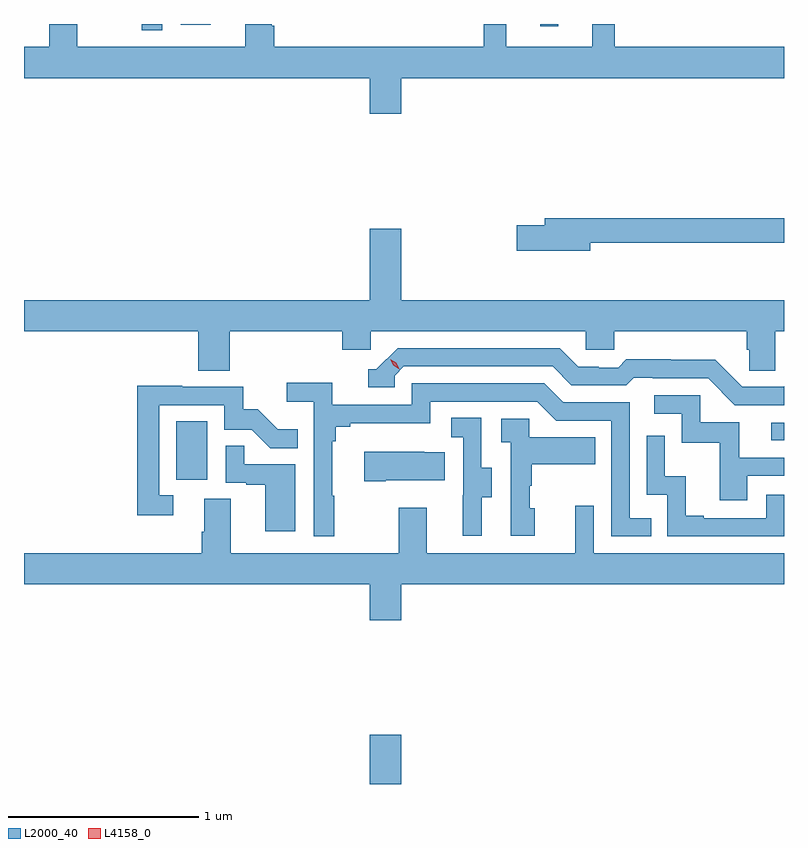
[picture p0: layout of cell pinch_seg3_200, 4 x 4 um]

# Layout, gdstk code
import gdstk
lib = gdstk.Library(unit=1e-6, precision=1e-09)
def R(c, l, rs):  # rectangles x0, y0, x1, y1
    for r in rs: c.add(gdstk.rectangle(r[:2], r[2:], *l))
def P(c, l, *ps):  # polygons
    for p in ps: c.add(gdstk.Polygon(p, *l))
L2000_40 = (2000, 40)
L4158_0 = (4158, 0)

pinch_seg3_200 = lib.new_cell('pinch_seg3_200')
R(pinch_seg3_200, L2000_40, [(956.216,727.837,956.38,728.095), (955.196,729.438,955.36,729.745), (958.329,729.645,958.395,729.738), (955.014,731.805,955.122,731.837), (957.111,731.826,957.208,731.837), (955.22,731.832,955.378,731.837)])
P(pinch_seg3_200, L2000_40, [(954.527,731.837),(954.527,731.716),(954.395,731.716),(954.395,731.552),(956.216,731.552),(956.216,731.364),(956.38,731.364),(956.38,731.552),(958.395,731.552),(958.395,731.716),(957.503,731.716),(957.503,731.837),(957.386,731.837),(957.386,731.716),(956.933,731.716),(956.933,731.837),(956.815,731.837),(956.815,731.716),(955.712,731.716),(955.712,731.828),(955.699,731.828),(955.699,731.837),(955.559,731.837),(955.559,731.716),(954.675,731.716),(954.675,731.837)],
  [(957.376,730.686),(958.395,730.686),(958.395,730.814),(957.137,730.814),(957.137,730.778),(956.988,730.778),(956.988,730.643),(957.376,730.643)],
  [(956.216,730.384),(954.395,730.384),(954.395,730.22),(955.313,730.22),(955.313,730.012),(955.478,730.012),(955.478,730.22),(956.069,730.22),(956.069,730.122),(956.22,730.122),(956.22,730.22),(957.351,730.22),(957.351,730.122),(957.501,730.122),(957.501,730.22),(958.199,730.22),(958.199,730.122),(958.213,730.122),(958.213,730.012),(958.35,730.012),(958.35,730.22),(958.395,730.22),(958.395,730.384),(956.38,730.384),(956.38,730.759),(956.216,730.759)],
  [(958.395,729.93),(958.392,729.927),(958.176,729.927),(958.034,730.069),(957.798,730.069),(957.798,730.072),(957.565,730.072),(957.523,730.029),(957.42,730.029),(957.42,730.032),(957.313,730.032),(957.214,730.131),(956.361,730.131),(956.25,730.02),(956.207,730.02),(956.207,729.924),(956.346,729.924),(956.346,729.987),(956.394,730.035),(957.177,730.035),(957.276,729.936),(957.565,729.936),(957.604,729.975),(957.703,729.975),(957.703,729.972),(957.996,729.972),(958.137,729.831),(958.395,729.831)],
  [(956.029,729.353),(956.017,729.353),(956.017,729.641),(956.036,729.641),(956.036,729.718),(956.113,729.718),(956.113,729.737),(956.532,729.737),(956.532,729.849),(957.096,729.849),(957.195,729.75),(957.486,729.75),(957.486,729.141),(957.695,729.141),(957.695,729.237),(957.582,729.237),(957.582,729.846),(957.232,729.846),(957.133,729.945),(956.436,729.945),(956.436,729.834),(956.018,729.834),(956.018,729.95),(955.779,729.95),(955.779,729.848),(955.92,729.848),(955.92,729.141),(956.029,729.141)],
  [(955.18,729.357),(955.107,729.357),(955.107,729.831),(955.449,729.831),(955.449,729.702),(955.593,729.702),(955.691,729.604),(955.835,729.604),(955.835,729.703),(955.731,729.703),(955.624,729.81),(955.548,729.81),(955.548,729.927),(955.229,729.927),(955.229,729.932),(954.991,729.932),(954.991,729.252),(955.18,729.252)],
  [(958.201,729.459),(958.395,729.459),(958.395,729.555),(958.159,729.555),(958.159,729.741),(957.954,729.741),(957.954,729.882),(957.711,729.882),(957.711,729.786),(957.858,729.786),(957.858,729.633),(958.057,729.633),(958.057,729.33),(958.201,729.33)],
  [(956.803,729.346),(956.857,729.346),(956.857,729.501),(956.802,729.501),(956.802,729.764),(956.643,729.764),(956.643,729.661),(956.706,729.661),(956.706,729.357),(956.705,729.357),(956.705,729.144),(956.803,729.144)],
  [(957.082,729.288),(957.057,729.288),(957.057,729.407),(957.067,729.407),(957.067,729.521),(957.401,729.521),(957.401,729.661),(957.054,729.661),(957.054,729.759),(956.907,729.759),(956.907,729.635),(956.958,729.635),(956.958,729.144),(957.082,729.144)],
  [(958.395,729.36),(958.302,729.36),(958.302,729.237),(957.973,729.237),(957.973,729.25),(957.878,729.25),(957.878,729.458),(957.768,729.458),(957.768,729.67),(957.672,729.67),(957.672,729.36),(957.78,729.36),(957.78,729.141),(958.395,729.141)],
  [(955.822,729.519),(955.553,729.519),(955.553,729.617),(955.458,729.617),(955.458,729.423),(955.565,729.423),(955.565,729.411),(955.664,729.411),(955.664,729.168),(955.822,729.168)],
  [(956.299,729.437),(956.609,729.437),(956.609,729.583),(956.501,729.583),(956.501,729.586),(956.187,729.586),(956.187,729.43),(956.299,729.43)],
  [(956.38,728.888),(958.395,728.888),(958.395,729.052),(957.393,729.052),(957.393,729.301),(957.296,729.301),(957.296,729.052),(956.515,729.052),(956.515,729.292),(956.368,729.292),(956.368,729.052),(955.483,729.052),(955.483,729.338),(955.343,729.338),(955.343,729.164),(955.331,729.164),(955.331,729.052),(954.395,729.052),(954.395,728.888),(956.216,728.888),(956.216,728.7),(956.38,728.7)])
P(pinch_seg3_200, L4158_0, [(956.369,730.021),(956.338,730.04),(956.322,730.072),(956.322,730.072),(956.322,730.072),(956.353,730.053),(956.369,730.021),(956.369,730.021)])

lib.write_gds('pinch_seg3_200.gds')
